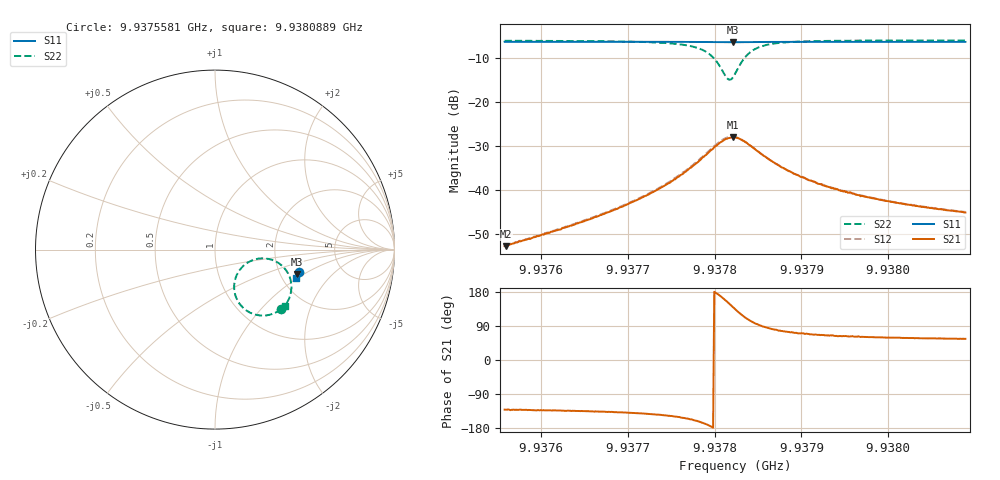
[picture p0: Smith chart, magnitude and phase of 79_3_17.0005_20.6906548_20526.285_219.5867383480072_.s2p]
#  HZ  S  RI  R  50.00
! Rohde & Schwarz Vector Network Analyzer
! Rohde-Schwarz,ZNB20-2Port,1311601062101988,3.16
! Created: UTC 3/20/2024, 10:55:39 PM
! freq[Hz]  re:S11  im:S11  re:S21  im:S21  re:S12  im:S12  re:S22  im:S22
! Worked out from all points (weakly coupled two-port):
!   401 points, 9.9375581 GHz to 9.9380889 GHz, reference 50 ohm
!   highest |S21| = -28.05 dB at 9.9378208 GHz (marker M1); lowest = -52.8 dB at 9.9375594 GHz (marker M2)
!   lowest |S11| = -6.4 dB at 9.9378208 GHz (marker M3), VSWR 2.82, Z = 123 - j43.8 ohm
!   |S11| at or under -10 dB: nowhere
!   |S22| runs from -15.0 to -6.0 dB; largest |S21 - S12| = 0.0022
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9.93755808e9  0.4664 -0.1229  -0.00151 -0.00174  -0.00156 -0.00175  0.3685 -0.3309
9.9375594e9  0.4664 -0.123  -0.00152 -0.00172  -0.00157 -0.00176  0.3684 -0.331
9.93764699e9  0.4642 -0.1291  -0.00303 -0.00309  -0.00312 -0.00307  0.3503 -0.3439
9.93769476e9  0.4629 -0.1326  -0.00488 -0.00433  -0.00508 -0.00435  0.3312 -0.3539
9.9377359e9  0.4615 -0.1354  -0.00838 -0.00602  -0.00868 -0.00598  0.299 -0.3643
9.93776775e9  0.46 -0.1378  -0.0149 -0.00713  -0.0153 -0.00705  0.2434 -0.3661
9.93778633e9  0.4587 -0.1389  -0.0228 -0.00575  -0.0234 -0.00526  0.1815 -0.3436
9.93779827e9  0.4575 -0.1393  -0.0294 -0.000768  -0.0306 0.000135  0.1305 -0.2922
9.93780756e9  0.4566 -0.139  -0.0342 0.00778  -0.035 0.00939  0.1067 -0.2141
9.93781552e9  0.4562 -0.1383  -0.034 0.0184  -0.034 0.0204  0.1279 -0.1284
9.93781818e9  0.4562 -0.138  -0.0325 0.022  -0.0323 0.0241  0.1467 -0.1025
9.93782083e9  0.4562 -0.1377  -0.0305 0.0253  -0.0296 0.0272  0.1703 -0.0804
9.93782348e9  0.4563 -0.1375  -0.0275 0.0281  -0.0265 0.03  0.1977 -0.064
9.93782879e9  0.4572 -0.1373  -0.0212 0.0316  -0.0197 0.0329  0.255 -0.0489
9.93783543e9  0.4578 -0.1375  -0.0129 0.0325  -0.0117 0.0331  0.3188 -0.0575
9.93784206e9  0.4584 -0.1378  -0.00669 0.0307  -0.00551 0.031  0.3643 -0.0824
9.93785003e9  0.4589 -0.1385  -0.00171 0.0273  -0.000778 0.0274  0.397 -0.1165
9.93787789e9  0.4592 -0.1415  0.00417 0.0174  0.00468 0.0174  0.4259 -0.2029
9.9379124e9  0.4586 -0.1444  0.00483 0.0117  0.00508 0.0115  0.4201 -0.2515
9.93794557e9  0.4577 -0.147  0.00439 0.00866  0.00468 0.00868  0.412 -0.2745
9.93800131e9  0.4563 -0.1507  0.0038 0.00635  0.00394 0.00633  0.4009 -0.2955
9.9380889e9  0.4539 -0.1565  0.00311 0.00458  0.00328 0.00459  0.389 -0.3125
